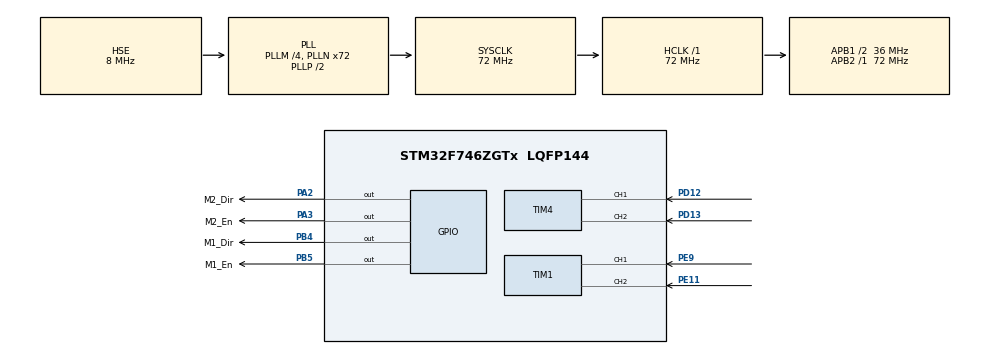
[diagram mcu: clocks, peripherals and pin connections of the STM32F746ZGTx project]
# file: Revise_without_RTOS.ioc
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Mcu.Family=STM32F7
Mcu.Name=STM32F746ZGTx
Mcu.Package=LQFP144
NVIC.PriorityGroup=NVIC_PRIORITYGROUP_4
NVIC.TIM1_CC_IRQn=true\:0\:0\:false\:false\:true\:true\:true\:true
PA13.Mode=Serial_Wire
PA13.Signal=SYS_JTMS-SWDIO
PA14.Mode=Serial_Wire
PA14.Signal=SYS_JTCK-SWCLK
PA2.GPIO_Label=M2_Dir
PA2.Signal=GPIO_Output
PA3.GPIO_Label=M2_En
PA3.Signal=GPIO_Output
PB4.GPIO_Label=M1_Dir
PB4.Signal=GPIO_Output
PB5.GPIO_Label=M1_En
PB5.Signal=GPIO_Output
PD12.Signal=S_TIM4_CH1
PD13.Signal=S_TIM4_CH2
PE11.Signal=S_TIM1_CH2
PE9.Signal=S_TIM1_CH1
PH0/OSC_IN.Mode=HSE-External-Oscillator
PH0/OSC_IN.Signal=RCC_OSC_IN
PH1/OSC_OUT.Mode=HSE-External-Oscillator
PH1/OSC_OUT.Signal=RCC_OSC_OUT
ProjectManager.HeapSize=0x200
ProjectManager.StackSize=0x400
ProjectManager.TargetToolchain=STM32CubeIDE
RCC.AHBFreq_Value=72000000
RCC.APB1CLKDivider=RCC_HCLK_DIV2
RCC.APB1Freq_Value=36000000
RCC.APB1TimFreq_Value=72000000
RCC.APB2Freq_Value=72000000
RCC.APB2TimFreq_Value=72000000
RCC.CortexFreq_Value=72000000
RCC.HCLKFreq_Value=72000000
RCC.HSE_VALUE=8000000
RCC.HSI_VALUE=16000000
RCC.LSE_VALUE=32768
RCC.PLLM=4
RCC.PLLN=72
RCC.PLLSourceVirtual=RCC_PLLSOURCE_HSE
RCC.SYSCLKFreq_VALUE=72000000
RCC.SYSCLKSource=RCC_SYSCLKSOURCE_PLLCLK
RCC.USBFreq_Value=72000000
RCC.VCOOutputFreq_Value=144000000
SH.S_TIM1_CH1.0=TIM1_CH1,Encoder_Interface
SH.S_TIM1_CH2.0=TIM1_CH2,Encoder_Interface
SH.S_TIM4_CH1.0=TIM4_CH1,Encoder_Interface
SH.S_TIM4_CH2.0=TIM4_CH2,Encoder_Interface
TIM1.EncoderMode=TIM_ENCODERMODE_TI12
TIM4.EncoderMode=TIM_ENCODERMODE_TI12
board=custom

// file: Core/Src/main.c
/* USER CODE BEGIN Header */
/**
 ******************************************************************************
 * @file           : main.c
 * @brief          : Main program body
 ******************************************************************************
 * @attention
 *
 * Copyright (c) 2024 STMicroelectronics.
 * All rights reserved.
 *
 * This software is licensed under terms that can be found in the LICENSE file
 * in the root directory of this software component.
 * If no LICENSE file comes with this software, it is provided AS-IS.
 *
 ******************************************************************************
 */
/* USER CODE END Header */
#include "main.h"

/* USER CODE BEGIN Includes */
#include "string.h"
#include "stdio.h"
#include <stdbool.h>
#include "motor_encoder.h"
#include "moving_average_int16.h"
#include "motor.h"
#include "dob.h"
#include "rtob.h"

#include "DFR_i2c.h"
/* USER CODE END Includes */

TIM_HandleTypeDef htim1;
TIM_HandleTypeDef htim4;

/* USER CODE BEGIN PV */

encoder_instance enc_instance_M1; // motor 1
encoder_instance enc_instance_M2; // motor 2
pid_instance_int16 pid_instance_M1; //
pid_instance_int16 pid_instance_M2;

dob_instance dob1;
rtob_instance rtob1;
dob_instance dob2;
rtob_instance rtob2;

DFRobot_GP8XXX_IIC gp8211s_1;
DFRobot_GP8XXX_IIC gp8211s_2;
/* USER CODE END PV */

void SystemClock_Config(void);
static void MPU_Initialize(void);
static void MPU_Config(void);
static void MX_GPIO_Init(void);
static void MX_TIM1_Init(void);
static void MX_TIM4_Init(void);

/* USER CODE BEGIN 0 */

const float PPR = 512.0;       // Pulses per revolution
const float gear_ratio = 26.0; // Gear ratio
const float k_T = 0.0705;
const float J_M = +3069.1e-7;
const float I_max = 2;

float RPM_k;            // RPM constant
float RPM_to_Rads_per_sec; // RPM to Rads/sec
float Ticks_to_Deg;

bool IsRo = 0;

bool IsDown = 0;

float J, J_Ro, G;
/* USER CODE END 0 */

int main(void) {

	/* MCU Configuration--------------------------------------------------------*/

	/* Reset of all peripherals, Initializes the Flash interface and the Systick. */
	HAL_Init();

	/* MPU Configuration--------------------------------------------------------*/
	MPU_Config();

	/* Configure the system clock */
	SystemClock_Config();

	/* Initialize all configured peripherals */
	MX_GPIO_Init();
	MX_TIM1_Init();
	MX_TIM4_Init();
	/* USER CODE BEGIN 2 */

	HAL_TIM_Encoder_Start_IT(&htim1, TIM_CHANNEL_ALL);
	HAL_TIM_Encoder_Start_IT(&htim4, TIM_CHANNEL_ALL);

	init_encoder(&enc_instance_M1);

	init_encoder(&enc_instance_M2);

	set_pid_gain(&pid_instance_M1, 5.0, 0.10, 0.01); // set gains
	set_pid_gain(&pid_instance_M2, 0.1, 0.05, 0.01); // set gains

	J = 0.001;
	G = 0;

	set_dob(&dob1, k_T, J, 50.0); // k = 70.5mNm/A  ,  j = 3069.1 gcm2  , G = 50
	set_rtob(&rtob1, k_T, J, 50.0, 0.0129, 0.0003);

	set_dob(&dob2, k_T, J, 50.0); // k = 70.5mNm/A  ,  j = 3069.1 gcm2  , G = 50
	set_rtob(&rtob2, k_T, J, 50.0, 0.0129, 0.0003);

	RPM_k = (float) 60.0 / (PPR * gear_ratio); // to calculate RPM form ticks/s
	RPM_to_Rads_per_sec = 2.0 * 3.14 / 60.0; // to calculate rads per sec from rpm
	Ticks_to_Deg = 360.0 / (512.0 * 26.0);  // to calculate degrees form ticks

	GP8XXX_IIC_begin(&gp8211s_1, GP8211S_identifier, 0x58, GPIOB,
	GPIO_PIN_6,
	GPIOB, GPIO_PIN_9);
	GP8XXX_IIC_begin(&gp8211s_2, GP8211S_identifier, 0x58, GPIOF,
	GPIO_PIN_0,
	GPIOF, GPIO_PIN_1);

	GP8XXX_IIC_setDACOutRange(&gp8211s_1, eOutputRange10V); // 10V
	GP8XXX_IIC_setDACOutRange(&gp8211s_2, eOutputRange10V); // 10V
	/* USER CODE END 2 */

	/* Infinite loop */
	while (1) {

	}
}

void SystemClock_Config(void) {
	RCC_OscInitTypeDef RCC_OscInitStruct = { 0 };
	RCC_ClkInitTypeDef RCC_ClkInitStruct = { 0 };

	/** Configure the main internal regulator output voltage
	 */
	__HAL_RCC_PWR_CLK_ENABLE();
	__HAL_PWR_VOLTAGESCALING_CONFIG(PWR_REGULATOR_VOLTAGE_SCALE3);

	/** Initializes the RCC Oscillators according to the specified parameters
	 * in the RCC_OscInitTypeDef structure.
	 */
	RCC_OscInitStruct.OscillatorType = RCC_OSCILLATORTYPE_HSE;
	RCC_OscInitStruct.HSEState = RCC_HSE_ON;
	RCC_OscInitStruct.PLL.PLLState = RCC_PLL_ON;
	RCC_OscInitStruct.PLL.PLLSource = RCC_PLLSOURCE_HSE;
	RCC_OscInitStruct.PLL.PLLM = 4;
	RCC_OscInitStruct.PLL.PLLN = 72;
	RCC_OscInitStruct.PLL.PLLP = RCC_PLLP_DIV2;
	RCC_OscInitStruct.PLL.PLLQ = 2;
	if (HAL_RCC_OscConfig(&RCC_OscInitStruct) != HAL_OK) {
		Error_Handler();
	}

	/** Initializes the CPU, AHB and APB buses clocks
	 */
	RCC_ClkInitStruct.ClockType = RCC_CLOCKTYPE_HCLK | RCC_CLOCKTYPE_SYSCLK
			| RCC_CLOCKTYPE_PCLK1 | RCC_CLOCKTYPE_PCLK2;
	RCC_ClkInitStruct.SYSCLKSource = RCC_SYSCLKSOURCE_PLLCLK;
	RCC_ClkInitStruct.AHBCLKDivider = RCC_SYSCLK_DIV1;
	RCC_ClkInitStruct.APB1CLKDivider = RCC_HCLK_DIV2;
	RCC_ClkInitStruct.APB2CLKDivider = RCC_HCLK_DIV1;

	if (HAL_RCC_ClockConfig(&RCC_ClkInitStruct, FLASH_LATENCY_2) != HAL_OK) {
		Error_Handler();
	}
}

static void MX_TIM1_Init(void) {

	TIM_Encoder_InitTypeDef sConfig = { 0 };
	TIM_MasterConfigTypeDef sMasterConfig = { 0 };

	htim1.Instance = TIM1;
	htim1.Init.Prescaler = 0;
	htim1.Init.CounterMode = TIM_COUNTERMODE_UP;
	htim1.Init.Period = 65535;
	htim1.Init.ClockDivision = TIM_CLOCKDIVISION_DIV1;
	htim1.Init.RepetitionCounter = 0;
	htim1.Init.AutoReloadPreload = TIM_AUTORELOAD_PRELOAD_DISABLE;
	sConfig.EncoderMode = TIM_ENCODERMODE_TI12;
	sConfig.IC1Polarity = TIM_ICPOLARITY_RISING;
	sConfig.IC1Selection = TIM_ICSELECTION_DIRECTTI;
	sConfig.IC1Prescaler = TIM_ICPSC_DIV1;
	sConfig.IC1Filter = 0;
	sConfig.IC2Polarity = TIM_ICPOLARITY_RISING;
	sConfig.IC2Selection = TIM_ICSELECTION_DIRECTTI;
	sConfig.IC2Prescaler = TIM_ICPSC_DIV1;
	sConfig.IC2Filter = 0;
	if (HAL_TIM_Encoder_Init(&htim1, &sConfig) != HAL_OK) {
		Error_Handler();
	}
	sMasterConfig.MasterOutputTrigger = TIM_TRGO_RESET;
	sMasterConfig.MasterOutputTrigger2 = TIM_TRGO2_RESET;
	sMasterConfig.MasterSlaveMode = TIM_MASTERSLAVEMODE_DISABLE;
	if (HAL_TIMEx_MasterConfigSynchronization(&htim1, &sMasterConfig)
			!= HAL_OK) {
		Error_Handler();
	}

}

static void MX_TIM4_Init(void) {

	TIM_Encoder_InitTypeDef sConfig = { 0 };
	TIM_MasterConfigTypeDef sMasterConfig = { 0 };

	htim4.Instance = TIM4;
	htim4.Init.Prescaler = 0;
	htim4.Init.CounterMode = TIM_COUNTERMODE_UP;
	htim4.Init.Period = 65535;
	htim4.Init.ClockDivision = TIM_CLOCKDIVISION_DIV1;
	htim4.Init.AutoReloadPreload = TIM_AUTORELOAD_PRELOAD_DISABLE;
	sConfig.EncoderMode = TIM_ENCODERMODE_TI12;
	sConfig.IC1Polarity = TIM_ICPOLARITY_RISING;
	sConfig.IC1Selection = TIM_ICSELECTION_DIRECTTI;
	sConfig.IC1Prescaler = TIM_ICPSC_DIV1;
	sConfig.IC1Filter = 0;
	sConfig.IC2Polarity = TIM_ICPOLARITY_RISING;
	sConfig.IC2Selection = TIM_ICSELECTION_DIRECTTI;
	sConfig.IC2Prescaler = TIM_ICPSC_DIV1;
	sConfig.IC2Filter = 0;
	if (HAL_TIM_Encoder_Init(&htim4, &sConfig) != HAL_OK) {
		Error_Handler();
	}
	sMasterConfig.MasterOutputTrigger = TIM_TRGO_RESET;
	sMasterConfig.MasterSlaveMode = TIM_MASTERSLAVEMODE_DISABLE;
	if (HAL_TIMEx_MasterConfigSynchronization(&htim4, &sMasterConfig)
			!= HAL_OK) {
		Error_Handler();
	}

}

static void MX_GPIO_Init(void) {
	GPIO_InitTypeDef GPIO_InitStruct = { 0 };

	/* GPIO Ports Clock Enable */
	__HAL_RCC_GPIOH_CLK_ENABLE();
	__HAL_RCC_GPIOA_CLK_ENABLE();
	__HAL_RCC_GPIOE_CLK_ENABLE();
	__HAL_RCC_GPIOD_CLK_ENABLE();
	__HAL_RCC_GPIOB_CLK_ENABLE();

	/*Configure GPIO pin Output Level */
	HAL_GPIO_WritePin(GPIOA, M2_Dir_Pin | M2_En_Pin, GPIO_PIN_RESET);

	/*Configure GPIO pin Output Level */
	HAL_GPIO_WritePin(GPIOB, M1_Dir_Pin | M1_En_Pin, GPIO_PIN_RESET);

	/*Configure GPIO pins : M2_Dir_Pin M2_En_Pin */
	GPIO_InitStruct.Pin = M2_Dir_Pin | M2_En_Pin;
	GPIO_InitStruct.Mode = GPIO_MODE_OUTPUT_PP;
	GPIO_InitStruct.Pull = GPIO_NOPULL;
	GPIO_InitStruct.Speed = GPIO_SPEED_FREQ_LOW;
	HAL_GPIO_Init(GPIOA, &GPIO_InitStruct);

	/*Configure GPIO pins : M1_Dir_Pin M1_En_Pin */
	GPIO_InitStruct.Pin = M1_Dir_Pin | M1_En_Pin;
	GPIO_InitStruct.Mode = GPIO_MODE_OUTPUT_PP;
	GPIO_InitStruct.Pull = GPIO_NOPULL;
	GPIO_InitStruct.Speed = GPIO_SPEED_FREQ_LOW;
	HAL_GPIO_Init(GPIOB, &GPIO_InitStruct);

}

/* MPU Configuration */

void MPU_Config(void) {
	MPU_Region_InitTypeDef MPU_InitStruct = { 0 };

	/* Disables the MPU */
	HAL_MPU_Disable();

	/** Initializes and configures the Region and the memory to be protected
	 */
	MPU_InitStruct.Enable = MPU_REGION_ENABLE;
	MPU_InitStruct.Number = MPU_REGION_NUMBER0;
	MPU_InitStruct.BaseAddress = 0x0;
	MPU_InitStruct.Size = MPU_REGION_SIZE_4GB;
	MPU_InitStruct.SubRegionDisable = 0x87;
	MPU_InitStruct.TypeExtField = MPU_TEX_LEVEL0;
	MPU_InitStruct.AccessPermission = MPU_REGION_NO_ACCESS;
	MPU_InitStruct.DisableExec = MPU_INSTRUCTION_ACCESS_DISABLE;
	MPU_InitStruct.IsShareable = MPU_ACCESS_SHAREABLE;
	MPU_InitStruct.IsCacheable = MPU_ACCESS_NOT_CACHEABLE;
	MPU_InitStruct.IsBufferable = MPU_ACCESS_NOT_BUFFERABLE;

	HAL_MPU_ConfigRegion(&MPU_InitStruct);
	/* Enables the MPU */
	HAL_MPU_Enable(MPU_PRIVILEGED_DEFAULT);

}

void Error_Handler(void) {
	__disable_irq();
	while (1) {
	}
}
